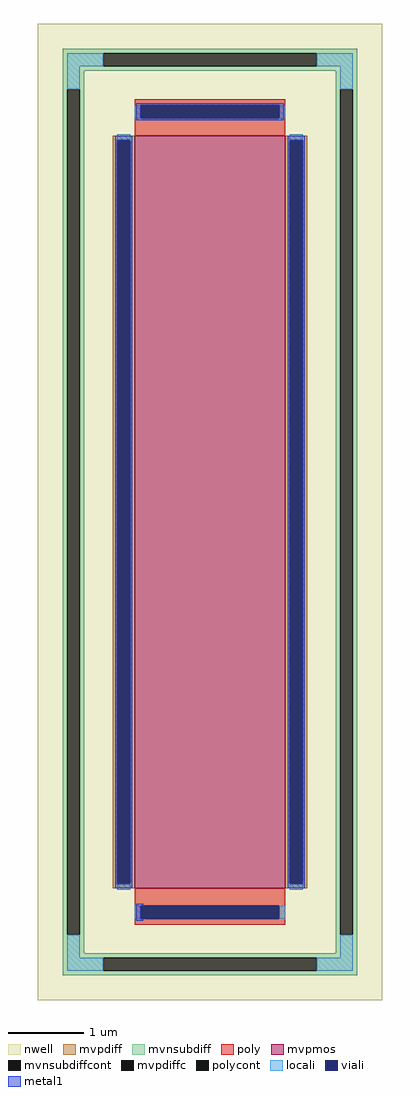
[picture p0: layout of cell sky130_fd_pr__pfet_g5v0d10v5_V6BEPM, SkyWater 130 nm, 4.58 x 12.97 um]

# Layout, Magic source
magic
tech sky130B
magscale 1 2
<< nwell >>
rect -458 -1297 458 1297
<< mvpmos >>
rect -200 -1000 200 1000
<< mvpdiff >>
rect -258 988 -200 1000
rect -258 -988 -246 988
rect -212 -988 -200 988
rect -258 -1000 -200 -988
rect 200 988 258 1000
rect 200 -988 212 988
rect 246 -988 258 988
rect 200 -1000 258 -988
<< mvpdiffc >>
rect -246 -988 -212 988
rect 212 -988 246 988
<< mvnsubdiff >>
rect -392 1219 392 1231
rect -392 1185 -284 1219
rect 284 1185 392 1219
rect -392 1173 392 1185
rect -392 1123 -334 1173
rect -392 -1123 -380 1123
rect -346 -1123 -334 1123
rect 334 1123 392 1173
rect -392 -1173 -334 -1123
rect 334 -1123 346 1123
rect 380 -1123 392 1123
rect 334 -1173 392 -1123
rect -392 -1185 392 -1173
rect -392 -1219 -284 -1185
rect 284 -1219 392 -1185
rect -392 -1231 392 -1219
<< mvnsubdiffcont >>
rect -284 1185 284 1219
rect -380 -1123 -346 1123
rect 346 -1123 380 1123
rect -284 -1219 284 -1185
<< poly >>
rect -200 1081 200 1097
rect -200 1047 -184 1081
rect 184 1047 200 1081
rect -200 1000 200 1047
rect -200 -1047 200 -1000
rect -200 -1081 -184 -1047
rect 184 -1081 200 -1047
rect -200 -1097 200 -1081
<< polycont >>
rect -184 1047 184 1081
rect -184 -1081 184 -1047
<< locali >>
rect -380 1185 -284 1219
rect 284 1185 380 1219
rect -380 1123 -346 1185
rect 346 1123 380 1185
rect -200 1047 -184 1081
rect 184 1047 200 1081
rect -246 988 -212 1004
rect -246 -1004 -212 -988
rect 212 988 246 1004
rect 212 -1004 246 -988
rect -200 -1081 -184 -1047
rect 184 -1081 200 -1047
rect -380 -1185 -346 -1123
rect 346 -1185 380 -1123
rect -380 -1219 -284 -1185
rect 284 -1219 380 -1185
<< viali >>
rect -184 1047 184 1081
rect -246 -988 -212 988
rect 212 -988 246 988
rect -184 -1081 184 -1047
<< metal1 >>
rect -196 1081 196 1087
rect -196 1047 -184 1081
rect 184 1047 196 1081
rect -196 1041 196 1047
rect -252 988 -206 1000
rect -252 -988 -246 988
rect -212 -988 -206 988
rect -252 -1000 -206 -988
rect 206 988 252 1000
rect 206 -988 212 988
rect 246 -988 252 988
rect 206 -1000 252 -988
rect -196 -1047 -178 -1041
rect -196 -1081 -184 -1047
rect -196 -1087 -178 -1081
<< properties >>
string FIXED_BBOX -363 -1202 363 1202
string gencell sky130_fd_pr__pfet_g5v0d10v5
string library sky130
string parameters w 10.0 l 2.0 m 1 nf 1 diffcov 100 polycov 100 guard 1 glc 1 grc 1 gtc 1 gbc 1 tbcov 100 rlcov 100 topc 1 botc 1 poverlap 0 doverlap 1 lmin 0.50 wmin 0.42 compatible {sky130_fd_pr__pfet_01v8  sky130_fd_pr__pfet_01v8_lvt sky130_fd_pr__pfet_01v8_hvt  sky130_fd_pr__pfet_g5v0d10v5} full_metal 1 viasrc 100 viadrn 100 viagate 100 viagb 0 viagr 0 viagl 0 viagt 0
<< end >>
